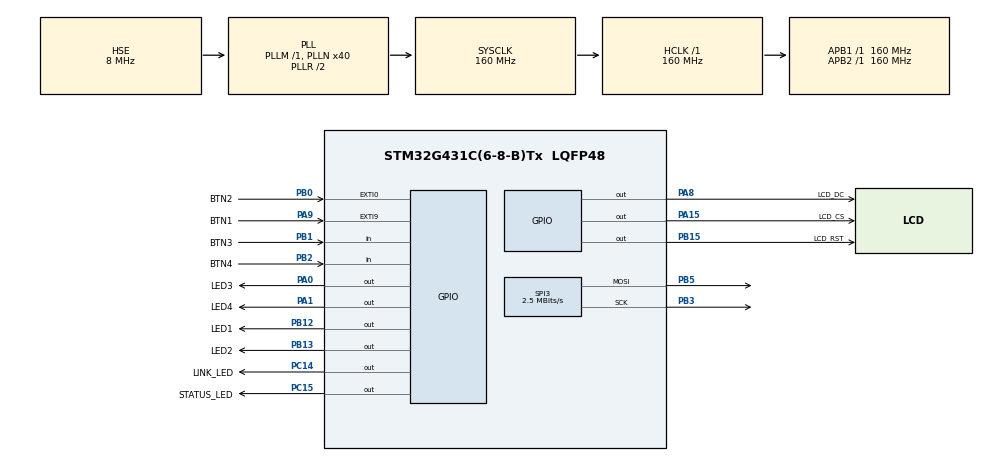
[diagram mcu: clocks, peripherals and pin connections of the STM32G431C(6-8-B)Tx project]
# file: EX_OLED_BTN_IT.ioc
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Mcu.Family=STM32G4
Mcu.Name=STM32G431C(6-8-B)Tx
Mcu.Package=LQFP48
NVIC.EXTI0_IRQn=true\:0\:0\:false\:false\:true\:true\:true\:true
NVIC.EXTI9_5_IRQn=true\:0\:0\:false\:false\:true\:true\:true\:true
NVIC.PriorityGroup=NVIC_PRIORITYGROUP_4
PA0.GPIO_Label=LED3
PA0.Signal=GPIO_Output
PA1.GPIO_Label=LED4
PA1.Signal=GPIO_Output
PA15.GPIO_Label=LCD_CS
PA15.Signal=GPIO_Output
PA8.GPIO_Label=LCD_DC
PA8.Signal=GPIO_Output
PA9.GPIO_Label=BTN1
PA9.GPIO_ModeDefaultEXTI=GPIO_MODE_IT_RISING_FALLING
PA9.GPIO_PuPd=GPIO_PULLUP
PA9.Signal=GPXTI9
PB0.GPIO_Label=BTN2
PB0.GPIO_ModeDefaultEXTI=GPIO_MODE_IT_RISING_FALLING
PB0.GPIO_PuPd=GPIO_PULLUP
PB0.Signal=GPXTI0
PB1.GPIO_Label=BTN3
PB1.GPIO_PuPd=GPIO_NOPULL
PB1.Signal=GPIO_Input
PB12.GPIO_Label=LED1
PB12.Signal=GPIO_Output
PB13.GPIO_Label=LED2
PB13.Signal=GPIO_Output
PB15.GPIO_Label=LCD_RST
PB15.Signal=GPIO_Output
PB2.GPIO_Label=BTN4
PB2.GPIO_PuPd=GPIO_NOPULL
PB2.Signal=GPIO_Input
PB3.Mode=TX_Only_Simplex_Unidirect_Master
PB3.Signal=SPI3_SCK
PB5.Mode=TX_Only_Simplex_Unidirect_Master
PB5.Signal=SPI3_MOSI
PC14-OSC32_IN.GPIO_Label=LINK_LED
PC14-OSC32_IN.Signal=GPIO_Output
PC15-OSC32_OUT.GPIO_Label=STATUS_LED
PC15-OSC32_OUT.Signal=GPIO_Output
PF0-OSC_IN.Mode=HSE-External-Oscillator
PF0-OSC_IN.Signal=RCC_OSC_IN
PF1-OSC_OUT.Mode=HSE-External-Oscillator
PF1-OSC_OUT.Signal=RCC_OSC_OUT
ProjectManager.HeapSize=0x200
ProjectManager.StackSize=0x400
ProjectManager.TargetToolchain=STM32CubeIDE
RCC.ADC12Freq_Value=160000000
RCC.AHBFreq_Value=160000000
RCC.APB1Freq_Value=160000000
RCC.APB1TimFreq_Value=160000000
RCC.APB2Freq_Value=160000000
RCC.APB2TimFreq_Value=160000000
RCC.CortexFreq_Value=160000000
RCC.EXTERNAL_CLOCK_VALUE=12288000
RCC.HCLKFreq_Value=160000000
RCC.HSE_VALUE=8000000
RCC.HSI48_VALUE=48000000
RCC.HSI_VALUE=16000000
RCC.LSE_VALUE=32768
RCC.PLLN=40
RCC.PLLSourceVirtual=RCC_PLLSOURCE_HSE
RCC.SYSCLKFreq_VALUE=160000000
RCC.SYSCLKSource=RCC_SYSCLKSOURCE_PLLCLK
RCC.USBFreq_Value=160000000
RCC.VCOOutputFreq_Value=320000000
SPI3.BaudRatePrescaler=SPI_BAUDRATEPRESCALER_64
SPI3.CalculateBaudRate=2.5 MBits/s
SPI3.DataSize=SPI_DATASIZE_8BIT
SPI3.Direction=SPI_DIRECTION_2LINES
SPI3.Mode=SPI_MODE_MASTER
SPI3.VirtualType=VM_MASTER
VP_SYS_VS_DBSignals.Mode=DisableDeadBatterySignals
board=custom

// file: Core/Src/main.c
/* USER CODE BEGIN Header */
/**
 ******************************************************************************
 * @file           : main.c
 * @brief          : Main program body
 ******************************************************************************
 * @attention
 *
 * Copyright (c) 2025 STMicroelectronics.
 * All rights reserved.
 *
 * This software is licensed under terms that can be found in the LICENSE file
 * in the root directory of this software component.
 * If no LICENSE file comes with this software, it is provided AS-IS.
 *
 ******************************************************************************
 */

/*
 *
 * 버튼누름 여부를 인터럽트로 확인하는 방식의 예제입니다. (인터럽트 예제)
 *
 */

/* USER CODE END Header */
#include "main.h"
#include "spi.h"
#include "gpio.h"

/* USER CODE BEGIN Includes */
#include "oled.h"
#include "font.h"
/* USER CODE END Includes */

/* USER CODE BEGIN PV */

// 버튼의 '현재 안정 상태' (1=눌림, 0=떼짐)
volatile uint8_t btn1_state = 0;
volatile uint8_t btn2_state = 0;

// OLED를 갱신하도록 트리거하는 플래그
volatile uint8_t btn1_oled_flag = 0;
volatile uint8_t btn2_oled_flag = 0;

// 인터럽트에서 기록하는 'keep 플래그'와 마지막 엣지 시간
volatile uint8_t  btn1_keep   = 0, btn2_keep   = 0;
volatile uint32_t btn1_last_edge = 0, btn2_last_edge = 0;

// 기계식 버튼 튀는 현상을 흡수하기 위한 디바운스 시간(ms)
#define DEBOUNCE_MS 10  // 버튼이나 환경마다 다를수있으니 조정해보세요!
/* USER CODE END PV */

void SystemClock_Config(void);

/* USER CODE BEGIN 0 */

/**
 * @brief 인터럽트로부터 일정 시간(DEBOUNCE_MS) 경과 후
 *        실제 핀 레벨을 읽어 상태를 '확정'하는 함수
 *        - 인터럽트 콜백에서는 '언제 변화가 있었는지'만 기록
 *        - 여기서 그 변화가 안정화되었는지 확인하고 반영
 */

static void DebouncedBTN(void)
{
  uint32_t now = HAL_GetTick();

  // BTN1: pending이면 DEBOUNCE_MS 지난 뒤 현재 레벨을 읽어 상태 확정, (한번더 체크)
  if (btn1_keep && (now - btn1_last_edge) >= DEBOUNCE_MS)
  {
    btn1_keep = 0; // 이번 변화에 대한 판정을 시작하므로 keep 클리어

    uint8_t cur = (HAL_GPIO_ReadPin(BTN1_GPIO_Port, BTN1_Pin) == GPIO_PIN_RESET); // 현재 핀상태

    // 상태가 바뀌었을 때만 OLED/LED를 갱신하도록 플래그 및 출력 처리
    if (cur != btn1_state)
    {
      btn1_state = cur;
      btn1_oled_flag = 1; // 메인 루프에서 한 번만 OLED 갱신

      // 버튼 눌림에 따라 LED on/off (active-low LED 가정)
      HAL_GPIO_WritePin(STATUS_LED_GPIO_Port, STATUS_LED_Pin,
                        btn1_state ? GPIO_PIN_RESET : GPIO_PIN_SET);
    }
  }

  // BTN2: BTN1과 동일한 로직
  if (btn2_keep && (now - btn2_last_edge) >= DEBOUNCE_MS)
  {
    btn2_keep = 0;

    uint8_t cur = (HAL_GPIO_ReadPin(BTN2_GPIO_Port, BTN2_Pin) == GPIO_PIN_RESET);

    if (cur != btn2_state)
    {
      btn2_state = cur;
      btn2_oled_flag = 1;

      HAL_GPIO_WritePin(LINK_LED_GPIO_Port, LINK_LED_Pin,
                        btn2_state ? GPIO_PIN_RESET : GPIO_PIN_SET);
    }
  }
}

/* USER CODE END 0 */

int main(void)
{

  /* MCU Configuration--------------------------------------------------------*/

  /* Reset of all peripherals, Initializes the Flash interface and the Systick. */
  HAL_Init();

  /* Configure the system clock */
  SystemClock_Config();

  /* Initialize all configured peripherals */
  MX_GPIO_Init();
  MX_SPI3_Init();
  /* USER CODE BEGIN 2 */
	// 가장 작은 폰트로 첫 글자만
	OLED_init(); // oled 초기화

	OLED_fill(0); // oled 전체를 검은색으로 칠함

	// (x좌표, y좌표, String, font, 밝기)
	oled_drawString(20, 0, "Button List", &font_07x10, 15); // 화면 위쪽
	oled_drawString(0, 20, "Button1", &font_07x10, 15); // 화면 왼쪽
	oled_drawString(60, 20, "OFF", &font_07x10, 1); // 화면 중앙, OFF는 어둡게...
	oled_drawString(0, 40, "Button2", &font_07x10, 15); // Button1 아래
	oled_drawString(60, 40, "OFF", &font_07x10, 1);

  /* USER CODE END 2 */

  /* Infinite loop */
  /* USER CODE BEGIN WHILE */
	while (1) {
		DebouncedBTN();
		  if (btn1_oled_flag || btn2_oled_flag)
		  {
		    btn1_oled_flag = 0;
		    btn2_oled_flag = 0;

		    if (btn1_state && btn2_state)
		    {
		      oled_drawString(60, 20, "ON ",  &font_07x10, 15);
		      oled_drawString(60, 40, "ON ",  &font_07x10, 15);

		    } else if (btn1_state && !btn2_state)
		    {
		      oled_drawString(60, 20, "ON ",  &font_07x10, 15);
		      oled_drawString(60, 40, "OFF",  &font_07x10, 1);

		    } else if (!btn1_state && btn2_state)
		    {
		      oled_drawString(60, 20, "OFF",  &font_07x10, 1);
		      oled_drawString(60, 40, "ON ",  &font_07x10, 15);

		    } else
		    {
		      oled_drawString(60, 20, "OFF",  &font_07x10, 1);
		      oled_drawString(60, 40, "OFF",  &font_07x10, 1);

		    }
		  }

    /* USER CODE END WHILE */

	}
}

void SystemClock_Config(void)
{
  RCC_OscInitTypeDef RCC_OscInitStruct = {0};
  RCC_ClkInitTypeDef RCC_ClkInitStruct = {0};

  /** Configure the main internal regulator output voltage
  */
  HAL_PWREx_ControlVoltageScaling(PWR_REGULATOR_VOLTAGE_SCALE1_BOOST);

  /** Initializes the RCC Oscillators according to the specified parameters
  * in the RCC_OscInitTypeDef structure.
  */
  RCC_OscInitStruct.OscillatorType = RCC_OSCILLATORTYPE_HSE;
  RCC_OscInitStruct.HSEState = RCC_HSE_ON;
  RCC_OscInitStruct.PLL.PLLState = RCC_PLL_ON;
  RCC_OscInitStruct.PLL.PLLSource = RCC_PLLSOURCE_HSE;
  RCC_OscInitStruct.PLL.PLLM = RCC_PLLM_DIV1;
  RCC_OscInitStruct.PLL.PLLN = 40;
  RCC_OscInitStruct.PLL.PLLP = RCC_PLLP_DIV2;
  RCC_OscInitStruct.PLL.PLLQ = RCC_PLLQ_DIV2;
  RCC_OscInitStruct.PLL.PLLR = RCC_PLLR_DIV2;
  if (HAL_RCC_OscConfig(&RCC_OscInitStruct) != HAL_OK)
  {
    Error_Handler();
  }

  /** Initializes the CPU, AHB and APB buses clocks
  */
  RCC_ClkInitStruct.ClockType = RCC_CLOCKTYPE_HCLK|RCC_CLOCKTYPE_SYSCLK
                              |RCC_CLOCKTYPE_PCLK1|RCC_CLOCKTYPE_PCLK2;
  RCC_ClkInitStruct.SYSCLKSource = RCC_SYSCLKSOURCE_PLLCLK;
  RCC_ClkInitStruct.AHBCLKDivider = RCC_SYSCLK_DIV1;
  RCC_ClkInitStruct.APB1CLKDivider = RCC_HCLK_DIV1;
  RCC_ClkInitStruct.APB2CLKDivider = RCC_HCLK_DIV1;

  if (HAL_RCC_ClockConfig(&RCC_ClkInitStruct, FLASH_LATENCY_4) != HAL_OK)
  {
    Error_Handler();
  }
}

/* USER CODE BEGIN 4 */
//=======================================================

//========= 인터럽트 발생 콜백함수 추가!! ======================

void HAL_GPIO_EXTI_Callback(uint16_t GPIO_Pin)
{
  uint32_t now = HAL_GetTick();
  if (GPIO_Pin == BTN1_Pin)
  {
    btn1_last_edge = now;
    btn1_keep = 1;          // 상태 확정은 메인루프로 미룸
  } else if (GPIO_Pin == BTN2_Pin)
  {
    btn2_last_edge = now;
    btn2_keep = 1;
  }
}

//========= 인터럽트 발생 콜백함수 추가!! ======================

/* USER CODE END 4 */

void Error_Handler(void)
{
	__disable_irq();
	while (1) {
	}
}
